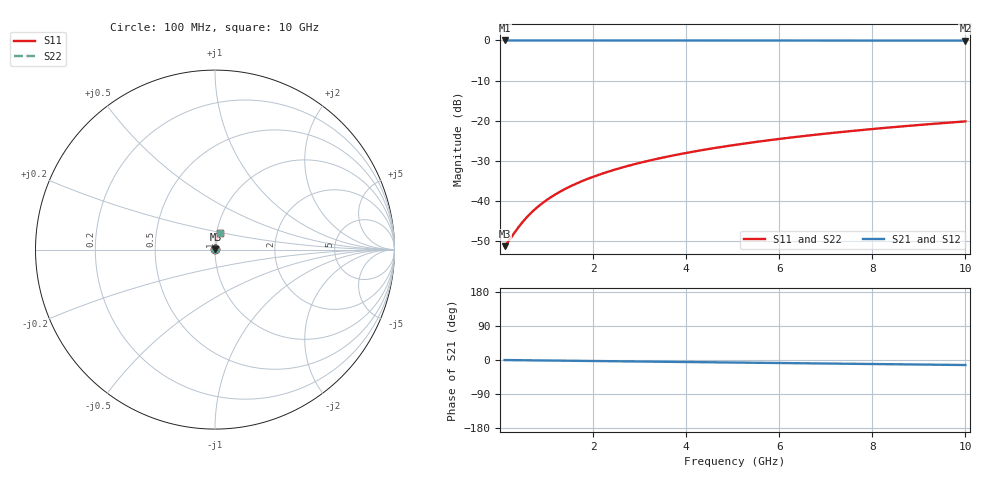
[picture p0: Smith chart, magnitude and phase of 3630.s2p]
# Hz S RI R 50.00
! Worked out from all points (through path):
!   100 points, 100 MHz to 10 GHz, reference 50 ohm
!   highest |S21| = -0.02 dB at 100 MHz (marker M1); lowest = -0.1 dB at 10 GHz (marker M2)
!   group delay of S21, straight-line fit = 3.68 ps
!   lowest |S11| = -51.3 dB at 100 MHz (marker M3), VSWR 1.01, Z = 50.3 + j0.0989 ohm
!   |S11| at or under -10 dB: start of sweep to end of sweep
!   |S22| runs from -51.3 to -20.2 dB; largest |S21 - S12| = 0
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1e8  0.00255 0.000984  0.9974 -0.00231  0.9974 -0.00231  0.00255 0.000984
2e8  0.00258 0.00197  0.9974 -0.00462  0.9974 -0.00462  0.00258 0.00197
4e8  0.00262 0.00393  0.9974 -0.00923  0.9974 -0.00923  0.00262 0.00393
5e8  0.00265 0.00492  0.9973 -0.0115  0.9973 -0.0115  0.00265 0.00492
6e8  0.00268 0.0059  0.9973 -0.0138  0.9973 -0.0138  0.00268 0.0059
7e8  0.00272 0.00688  0.9972 -0.0162  0.9972 -0.0162  0.00272 0.00688
8e8  0.00276 0.00787  0.9972 -0.0185  0.9972 -0.0185  0.00276 0.00787
1e9  0.00285 0.00983  0.997 -0.0231  0.997 -0.0231  0.00285 0.00983
1.2e9  0.00296 0.0118  0.9969 -0.0277  0.9969 -0.0277  0.00296 0.0118
1.5e9  0.00316 0.0147  0.9966 -0.0346  0.9966 -0.0346  0.00316 0.0147
1.8e9  0.00339 0.0177  0.9963 -0.0415  0.9963 -0.0415  0.00339 0.0177
2.1e9  0.00367 0.0206  0.9959 -0.0484  0.9959 -0.0484  0.00367 0.0206
2.5e9  0.0041 0.0245  0.9953 -0.0576  0.9953 -0.0576  0.0041 0.0245
2.9e9  0.0046 0.0284  0.9946 -0.0668  0.9946 -0.0668  0.0046 0.0284
3.4e9  0.00533 0.0333  0.9936 -0.0783  0.9936 -0.0783  0.00533 0.0333
4.2e9  0.00672 0.041  0.9917 -0.0967  0.9917 -0.0967  0.00672 0.041
5.1e9  0.00863 0.0496  0.989 -0.1172  0.989 -0.1172  0.00863 0.0496
5.9e9  0.0106 0.0572  0.9862 -0.1355  0.9862 -0.1355  0.0106 0.0572
6.7e9  0.0129 0.0647  0.9831 -0.1536  0.9831 -0.1536  0.0129 0.0647
7.5e9  0.0154 0.0722  0.9795 -0.1716  0.9795 -0.1716  0.0154 0.0722
8.4e9  0.0186 0.0804  0.975 -0.1918  0.975 -0.1918  0.0186 0.0804
1e10  0.0251 0.0946  0.9659 -0.2273  0.9659 -0.2273  0.0251 0.0946
